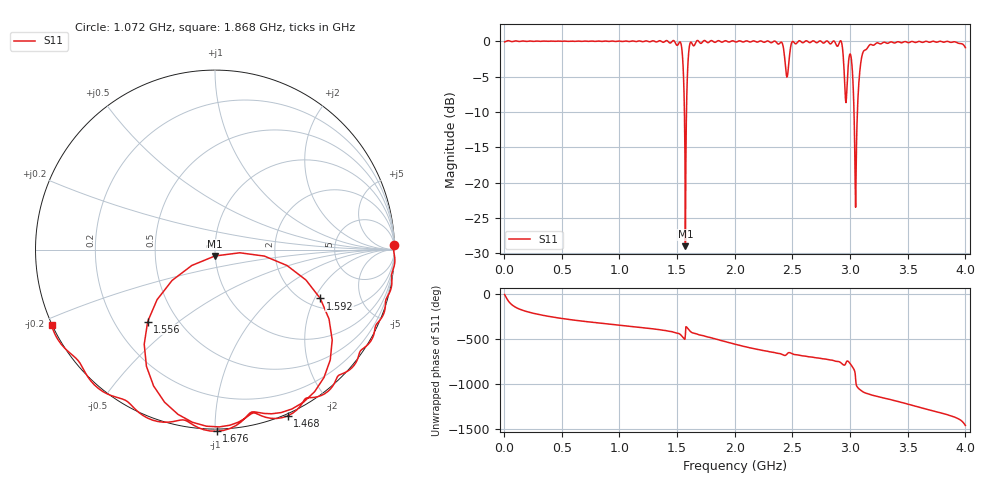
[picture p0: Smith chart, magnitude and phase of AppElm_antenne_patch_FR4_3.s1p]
! TOUCHSTONE file generated by CST MICROWAVE STUDIO
! Date and time: Tue Jun  7 22:11:14 2022
! Project name: AppElm_antenne_patch_FR4.cst
! Parameters = {L=45; W=58.5; e=0.035; h=1.6; lambda=0.190476; ls=120; w0=1.6; w1=0.4531; ws=120; y0=20; y1=23.81}
! Header version: 2018
! Port assignment regex: !\s*Touchstone port\s*([0-9]+)\s*=\s*(CST MWS port|CST DS port)\s*([0-9]+|Zmin|Zmax)\s*\(\"(.*)\"\)(\s*mode\s*([0-9]+))?.*
! Touchstone port assignment:
! Touchstone port 1 = CST MWS port 1 ("")
# GHz S MA R 50
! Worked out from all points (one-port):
!   1000 points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, 4 MHz to 4 GHz, reference 50 ohm
!   lowest |S11| = -29.0 dB at 1.572 GHz (marker M1), VSWR 1.07, Z = 49.9 - j3.54 ohm
!   |S11| at or under -10 dB: 1.563 GHz to 1.581 GHz (18.1 MHz wide, 1.15 % of centre); 3.034 GHz to 3.063 GHz (29.6 MHz wide, 0.971 % of centre)
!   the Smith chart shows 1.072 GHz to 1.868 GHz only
!   S11 on the Smith chart (normalised r, x): 1.072 GHz: 6, +76; 1.468 GHz: -0.02, -1.53; 1.556 GHz: 0.34, -0.39; 1.592 GHz: 2.37, -2.22; 1.676 GHz: -0.01, -1.01; 1.868 GHz: -0.00, -0.22
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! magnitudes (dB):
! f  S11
! 4 MHz  -0.1
! 504 MHz  0.0
! 1.004 GHz  0.0
! 1.072 GHz  0.0
! 1.468 GHz  0.1
! 1.504 GHz  -0.6
! 1.536 GHz  -0.5
! 1.556 GHz  -5.2
! 1.572 GHz  -29.0
! 1.592 GHz  -3.8
! 1.6 GHz  -1.7
! 1.612 GHz  -0.3
! 1.676 GHz  0.1
! 1.868 GHz  0.0
! 2.004 GHz  -0.1
! 2.396 GHz  -0.2
! 2.452 GHz  -5.1
! 2.504 GHz  0.0
! 2.916 GHz  0.1
! 2.964 GHz  -8.7
! 3.004 GHz  -1.9
! 3.016 GHz  -3.3
! 3.036 GHz  -11.4
! 3.052 GHz  -18.6
! 3.088 GHz  -3.7
! 3.12 GHz  -1.4
! 3.504 GHz  -0.2
! 4 GHz  -0.9
